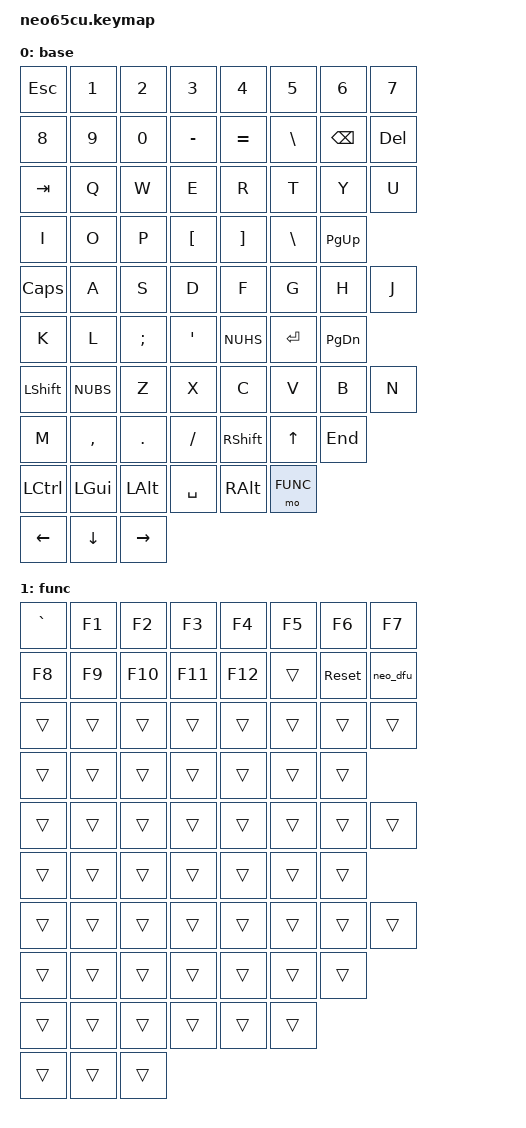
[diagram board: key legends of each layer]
// Copyright (c) 2026 Neo65 CU ZMK contributors
// SPDX-License-Identifier: MIT

#include <behaviors.dtsi>
#include <dt-bindings/zmk/keys.h>

#define BASE 0
#define FUNC 1

/ {
    keymap {
        compatible = "zmk,keymap";

        base {
            bindings = <
                &kp ESC   &kp N1    &kp N2    &kp N3    &kp N4    &kp N5    &kp N6    &kp N7
                &kp N8    &kp N9    &kp N0    &kp MINUS &kp EQUAL &kp BSLH  &kp BSPC  &kp DEL

                &kp TAB   &kp Q     &kp W     &kp E     &kp R     &kp T     &kp Y     &kp U
                &kp I     &kp O     &kp P     &kp LBKT  &kp RBKT  &kp BSLH  &kp PG_UP

                &kp CLCK  &kp A     &kp S     &kp D     &kp F     &kp G     &kp H     &kp J
                &kp K     &kp L     &kp SEMI  &kp SQT   &kp NUHS  &kp ENTER &kp PG_DN

                &kp LSHFT &kp NUBS  &kp Z     &kp X     &kp C     &kp V     &kp B     &kp N
                &kp M     &kp COMMA &kp DOT   &kp FSLH  &kp RSHFT &kp UP    &kp END

                &kp LCTRL &kp LGUI  &kp LALT  &kp SPACE &kp RALT  &mo FUNC
                &kp LEFT  &kp DOWN  &kp RIGHT
            >;
        };

        func {
            bindings = <
                &kp GRAVE &kp F1   &kp F2   &kp F3   &kp F4   &kp F5   &kp F6   &kp F7
                &kp F8    &kp F9   &kp F10  &kp F11  &kp F12  &trans   &sys_reset &neo_dfu

                &trans    &trans   &trans   &trans   &trans   &trans   &trans   &trans
                &trans    &trans   &trans   &trans   &trans   &trans   &trans

                &trans    &trans   &trans   &trans   &trans   &trans   &trans   &trans
                &trans    &trans   &trans   &trans   &trans   &trans   &trans

                &trans    &trans   &trans   &trans   &trans   &trans   &trans   &trans
                &trans    &trans   &trans   &trans   &trans   &trans   &trans

                &trans    &trans   &trans   &trans   &trans   &trans
                &trans    &trans   &trans
            >;
        };
    };
};
